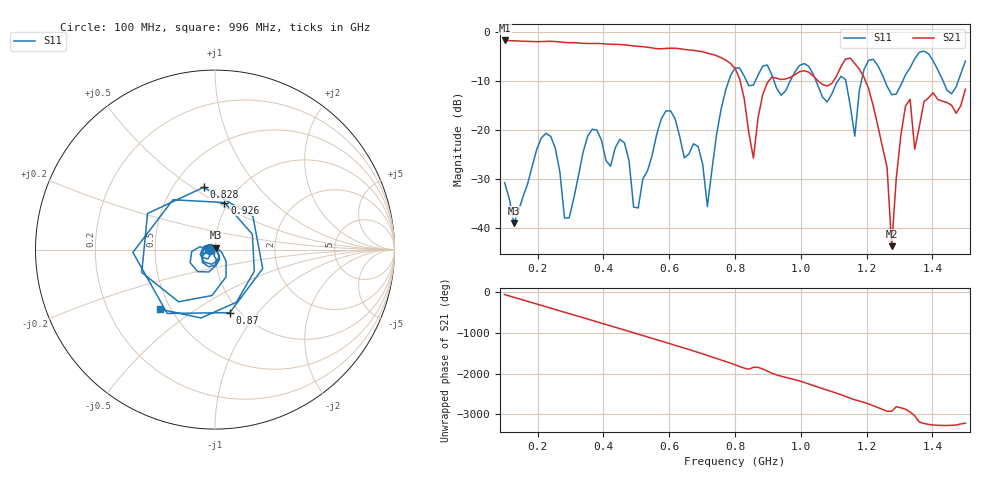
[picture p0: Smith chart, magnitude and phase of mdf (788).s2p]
! NanoVNA-App
! Date: 2025-09-25 15:44:33
! Start: 100MHz Stop: 1,5GHz Points: 101
! S-Parameter data: F S11 S21 S12 S22
# Hz S RI R 50
!  Frequency  S11_Real  S11_Imag  S21_Real  S21_Imag  S12_Real  S12_Imag  S22_Real  S22_Imag
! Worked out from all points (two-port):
!   101 points, 100 MHz to 1.5 GHz, reference 50 ohm
!   highest |S21| = -1.80 dB at 100 MHz (marker M1); lowest = -43.7 dB at 1.276 GHz (marker M2)
!   |S21| within 3 dB of the highest: start of sweep to 739.1 MHz
!   lowest |S11| = -39.0 dB at 128 MHz (marker M3), VSWR 1.02, Z = 50.3 + j1.08 ohm
!   |S11| at or under -10 dB: start of sweep to 781.1 MHz; 1.046 GHz to 1.113 GHz (67.07 MHz wide, 6.21 % of centre); 1.255 GHz to 1.31 GHz (54.61 MHz wide, 4.26 % of centre) (the widest 3 of 7)
!   S12 and S22 are empty: the file has one direction only
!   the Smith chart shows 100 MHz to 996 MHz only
!   S11 on the Smith chart (normalised r, x): 100 MHz: 0.94, -0.01; 828 MHz: 0.70, +0.55; 870 MHz: 0.90, -0.73; 926 MHz: 0.96, +0.54; 996 MHz: 0.44, -0.36
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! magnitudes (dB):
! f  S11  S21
! 100 MHz  -30.7  -1.8
! 128 MHz  -39.0  -1.9
! 212 MHz  -21.6  -2.0
! 282 MHz  -37.9  -2.2
! 338 MHz  -24.7  -2.4
! 464 MHz  -22.6  -2.7
! 506 MHz  -35.9  -3.0
! 576 MHz  -17.8  -3.5
! 716 MHz  -35.6  -4.4
! 800 MHz  -7.4  -7.4
! 828 MHz  -9.1  -13.6
! 856 MHz  -10.9  -25.7
! 870 MHz  -8.9  -17.6
! 926 MHz  -11.5  -9.5
! 996 MHz  -6.9  -8.2
! 1.038 GHz  -8.7  -9.1
! 1.164 GHz  -21.3  -6.5
! 1.192 GHz  -7.7  -9.3
! 1.262 GHz  -11.1  -27.6
! 1.276 GHz  -12.8  -43.7
! 1.318 GHz  -8.8  -15.2
! 1.5 GHz  -6.0  -11.7
